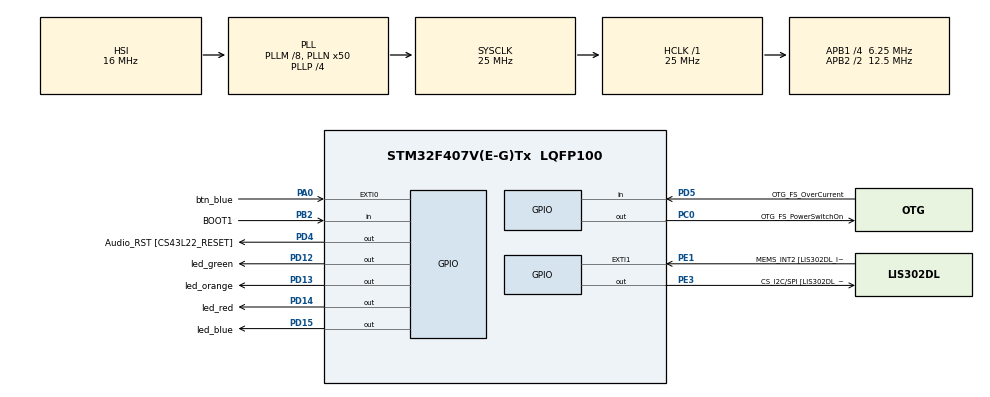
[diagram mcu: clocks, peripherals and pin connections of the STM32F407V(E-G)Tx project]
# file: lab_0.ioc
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Mcu.Family=STM32F4
Mcu.Name=STM32F407V(E-G)Tx
Mcu.Package=LQFP100
NVIC.PriorityGroup=NVIC_PRIORITYGROUP_4
NVIC.TIM7_IRQn=true\:0\:0\:false\:false\:true\:false\:true\:true
NVIC.TimeBase=TIM7_IRQn
NVIC.TimeBaseIP=TIM7
PA0-WKUP.GPIO_Label=btn_blue
PA0-WKUP.Signal=GPXTI0
PA10.GPIO_Label=OTG_FS_ID
PA10.GPIO_Mode=GPIO_MODE_AF_PP
PA10.GPIO_PuPd=GPIO_NOPULL
PA10.GPIO_Speed=GPIO_SPEED_FREQ_LOW
PA10.Signal=USB_OTG_FS_ID
PA11.GPIO_Label=OTG_FS_DM
PA11.GPIO_Mode=GPIO_MODE_AF_PP
PA11.GPIO_PuPd=GPIO_NOPULL
PA11.GPIO_Speed=GPIO_SPEED_FREQ_LOW
PA11.Signal=USB_OTG_FS_DM
PA12.GPIO_Label=OTG_FS_DP
PA12.GPIO_Mode=GPIO_MODE_AF_PP
PA12.GPIO_PuPd=GPIO_NOPULL
PA12.GPIO_Speed=GPIO_SPEED_FREQ_LOW
PA12.Signal=USB_OTG_FS_DP
PA13.GPIO_Label=SWDIO
PA13.Mode=Serial_Wire
PA13.Signal=SYS_JTMS-SWDIO
PA14.GPIO_Label=SWCLK
PA14.Mode=Serial_Wire
PA14.Signal=SYS_JTCK-SWCLK
PA4.GPIO_Label=I2S3_WS [CS43L22_LRCK]
PA4.GPIO_Mode=GPIO_MODE_AF_PP
PA4.GPIO_PuPd=GPIO_NOPULL
PA4.GPIO_Speed=GPIO_SPEED_FREQ_LOW
PA4.Signal=I2S3_WS
PA5.GPIO_Label=SPI1_SCK [LIS302DL_SCL/SPC]
PA5.GPIO_Mode=GPIO_MODE_AF_PP
PA5.GPIO_PuPd=GPIO_NOPULL
PA5.GPIO_Speed=GPIO_SPEED_FREQ_LOW
PA5.Signal=SPI1_SCK
PA6.GPIO_Label=SPI1_MISO [LIS302DL_SDO]
PA6.GPIO_Mode=GPIO_MODE_AF_PP
PA6.GPIO_PuPd=GPIO_NOPULL
PA6.GPIO_Speed=GPIO_SPEED_FREQ_LOW
PA6.Signal=SPI1_MISO
PA7.GPIO_Label=SPI1_MOSI [LIS302DL_SDA/SDI/SDO]
PA7.GPIO_Mode=GPIO_MODE_AF_PP
PA7.GPIO_PuPd=GPIO_NOPULL
PA7.GPIO_Speed=GPIO_SPEED_FREQ_LOW
PA7.Signal=SPI1_MOSI
PA9.GPIO_Label=VBUS_FS
PA9.GPIO_Mode=GPIO_MODE_INPUT
PA9.GPIO_PuPd=GPIO_NOPULL
PA9.Signal=USB_OTG_FS_VBUS
PB10.GPIO_Label=CLK_IN [MP45DT02_CLK]
PB10.GPIO_Mode=GPIO_MODE_AF_PP
PB10.GPIO_PuPd=GPIO_NOPULL
PB10.GPIO_Speed=GPIO_SPEED_FREQ_LOW
PB10.Signal=I2S2_CK
PB2.GPIO_Label=BOOT1
PB2.GPIO_Mode=GPIO_MODE_INPUT
PB2.GPIO_PuPd=GPIO_NOPULL
PB2.Signal=GPIO_Input
PB3.GPIO_Label=SWO
PB3.Signal=SYS_JTDO-SWO
PB6.GPIO_Label=Audio_SCL [CS43L22_SCL]
PB6.GPIO_Mode=GPIO_MODE_AF_OD
PB6.GPIO_PuPd=GPIO_NOPULL
PB6.GPIO_Speed=GPIO_SPEED_FREQ_LOW
PB6.Signal=I2C1_SCL
PB9.GPIO_Label=Audio_SDA [CS43L22_SDA]
PB9.GPIO_Mode=GPIO_MODE_AF_OD
PB9.GPIO_PuPd=GPIO_NOPULL
PB9.GPIO_Speed=GPIO_SPEED_FREQ_LOW
PB9.Signal=I2C1_SDA
PC0.GPIO_Label=OTG_FS_PowerSwitchOn
PC0.GPIO_PuPd=GPIO_NOPULL
PC0.GPIO_Speed=GPIO_SPEED_FREQ_LOW
PC0.PinState=GPIO_PIN_SET
PC0.Signal=GPIO_Output
PC10.GPIO_Label=I2S3_SCK [CS43L22_SCLK]
PC10.GPIO_Mode=GPIO_MODE_AF_PP
PC10.GPIO_PuPd=GPIO_NOPULL
PC10.GPIO_Speed=GPIO_SPEED_FREQ_LOW
PC10.Signal=I2S3_CK
PC12.GPIO_Label=I2S3_SD [CS43L22_SDIN]
PC12.GPIO_Mode=GPIO_MODE_AF_PP
PC12.GPIO_PuPd=GPIO_NOPULL
PC12.GPIO_Speed=GPIO_SPEED_FREQ_LOW
PC12.Signal=I2S3_SD
PC14-OSC32_IN.GPIO_Label=PC14-OSC32_IN
PC14-OSC32_IN.Signal=RCC_OSC32_IN
PC15-OSC32_OUT.GPIO_Label=PC15-OSC32_OUT
PC15-OSC32_OUT.Signal=RCC_OSC32_OUT
PC3.GPIO_Label=PDM_OUT [MP45DT02_DOUT]
PC3.GPIO_Mode=GPIO_MODE_AF_PP
PC3.GPIO_PuPd=GPIO_NOPULL
PC3.GPIO_Speed=GPIO_SPEED_FREQ_LOW
PC3.Signal=I2S2_SD
PC7.GPIO_Label=I2S3_MCK [CS43L22_MCLK]
PC7.GPIO_Mode=GPIO_MODE_AF_PP
PC7.GPIO_PuPd=GPIO_NOPULL
PC7.GPIO_Speed=GPIO_SPEED_FREQ_LOW
PC7.Signal=I2S3_MCK
PD12.GPIO_Label=led_green
PD12.Signal=GPIO_Output
PD13.GPIO_Label=led_orange
PD13.GPIO_PuPd=GPIO_NOPULL
PD13.GPIO_Speed=GPIO_SPEED_FREQ_LOW
PD13.Signal=GPIO_Output
PD14.GPIO_Label=led_red
PD14.GPIO_PuPd=GPIO_NOPULL
PD14.GPIO_Speed=GPIO_SPEED_FREQ_LOW
PD14.Signal=GPIO_Output
PD15.GPIO_Label=led_blue
PD15.GPIO_PuPd=GPIO_NOPULL
PD15.GPIO_Speed=GPIO_SPEED_FREQ_LOW
PD15.Signal=GPIO_Output
PD4.GPIO_Label=Audio_RST [CS43L22_RESET]
PD4.GPIO_PuPd=GPIO_NOPULL
PD4.GPIO_Speed=GPIO_SPEED_FREQ_LOW
PD4.Signal=GPIO_Output
PD5.GPIO_Label=OTG_FS_OverCurrent
PD5.GPIO_Mode=GPIO_MODE_INPUT
PD5.GPIO_PuPd=GPIO_NOPULL
PD5.Signal=GPIO_Input
PE1.GPIO_Label=MEMS_INT2 [LIS302DL_INT2]
PE1.GPIO_ModeDefaultEXTI=GPIO_MODE_EVT_RISING
PE1.GPIO_PuPd=GPIO_NOPULL
PE1.Signal=GPXTI1
PE3.GPIO_Label=CS_I2C/SPI [LIS302DL_CS_I2C/SPI]
PE3.GPIO_PuPd=GPIO_NOPULL
PE3.GPIO_Speed=GPIO_SPEED_FREQ_LOW
PE3.Signal=GPIO_Output
PH0-OSC_IN.GPIO_Label=PH0-OSC_IN
PH0-OSC_IN.Signal=RCC_OSC_IN
PH1-OSC_OUT.GPIO_Label=PH1-OSC_OUT
PH1-OSC_OUT.Signal=RCC_OSC_OUT
ProjectManager.HeapSize=0x200
ProjectManager.StackSize=0x400
ProjectManager.TargetToolchain=STM32CubeIDE
RCC.48MHZClocksFreq_Value=14285714.285714285
RCC.AHBFreq_Value=25000000
RCC.APB1CLKDivider=RCC_HCLK_DIV4
RCC.APB1Freq_Value=6250000
RCC.APB1TimFreq_Value=12500000
RCC.APB2CLKDivider=RCC_HCLK_DIV2
RCC.APB2Freq_Value=12500000
RCC.APB2TimFreq_Value=25000000
RCC.CortexFreq_Value=25000000
RCC.HCLKFreq_Value=25000000
RCC.HSE_VALUE=8000000
RCC.HSI_VALUE=16000000
RCC.LSE_VALUE=32768
RCC.PLLM=8
RCC.PLLN=50
RCC.PLLP=RCC_PLLP_DIV4
RCC.PLLQ=7
RCC.SYSCLKFreq_VALUE=25000000
RCC.SYSCLKSource=RCC_SYSCLKSOURCE_PLLCLK
RCC.VCOOutputFreq_Value=100000000
VP_SYS_VS_tim7.Mode=TIM7
board=STM32F407G-DISC1

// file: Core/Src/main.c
/* USER CODE BEGIN Header */
/**
  ******************************************************************************
  * @file           : main.c
  * @brief          : Main program body
  ******************************************************************************
  * @attention
  *
  * Copyright (c) 2024 STMicroelectronics.
  * All rights reserved.
  *
  * This software is licensed under terms that can be found in the LICENSE file
  * in the root directory of this software component.
  * If no LICENSE file comes with this software, it is provided AS-IS.
  *
  ******************************************************************************
  */
/* USER CODE END Header */
#include "main.h"
#include "stdio.h"
#include "stdlib.h"
#include "FreeRTOS.h"
#include "task.h"
#include "queue.h"

void SystemClock_Config(void);
static void MX_GPIO_Init(void);

/* USER CODE BEGIN 0 */
BaseType_t xReturned;
TaskHandle_t xHandle=NULL;
void LED_Task( void ){
	HAL_GPIO_WritePin(GPIOD, GPIO_PIN_12 | GPIO_PIN_13 | GPIO_PIN_14 | GPIO_PIN_15, GPIO_PIN_RESET);
	for(;;){

		HAL_GPIO_WritePin(GPIOD, GPIO_PIN_12, GPIO_PIN_SET );
		vTaskDelay(500);
		HAL_GPIO_WritePin(GPIOD, GPIO_PIN_12, GPIO_PIN_RESET );
		vTaskDelay(500);
	}
}
void LEDTask_App(void *pvParameters)
{
	for(;;)
	{
		if(HAL_GPIO_ReadPin(btn_blue_GPIO_Port, GPIO_PIN_0)){
			HAL_GPIO_WritePin(led_green_GPIO_Port, GPIO_PIN_12, GPIO_PIN_SET);
			HAL_GPIO_WritePin(led_red_GPIO_Port, GPIO_PIN_14, GPIO_PIN_RESET);
			vTaskDelay(1000);
			HAL_GPIO_WritePin(led_green_GPIO_Port, GPIO_PIN_12, GPIO_PIN_RESET);
			HAL_GPIO_WritePin(led_red_GPIO_Port, GPIO_PIN_14, GPIO_PIN_SET);
			vTaskDelay(1000);
		} else{
			HAL_GPIO_WritePin(led_orange_GPIO_Port, GPIO_PIN_13, GPIO_PIN_SET);
			HAL_GPIO_WritePin(led_red_GPIO_Port, GPIO_PIN_12, GPIO_PIN_RESET);
			HAL_GPIO_WritePin(led_green_GPIO_Port, GPIO_PIN_14, GPIO_PIN_RESET);
			vTaskDelay(1000);
			HAL_GPIO_WritePin(led_orange_GPIO_Port, GPIO_PIN_13, GPIO_PIN_RESET);
			vTaskDelay(1000);
		}
	}
}
/* USER CODE END 0 */

int main(void)
{

  /* MCU Configuration--------------------------------------------------------*/

  /* Reset of all peripherals, Initializes the Flash interface and the Systick. */
  HAL_Init();

  /* Configure the system clock */
  SystemClock_Config();

  /* Initialize all configured peripherals */
  MX_GPIO_Init();
  /* USER CODE BEGIN 2 */
  xTaskCreate(
		  LEDTask_App,
		  "LEDTask_App",
		  128,
		  NULL,
		  1,
		  &xHandle);

  vTaskStartScheduler();
  /* USER CODE END 2 */

  /* Infinite loop */
  while (1)
  {

  }
}

void SystemClock_Config(void)
{
  RCC_OscInitTypeDef RCC_OscInitStruct = {0};
  RCC_ClkInitTypeDef RCC_ClkInitStruct = {0};

  /** Configure the main internal regulator output voltage
  */
  __HAL_RCC_PWR_CLK_ENABLE();
  __HAL_PWR_VOLTAGESCALING_CONFIG(PWR_REGULATOR_VOLTAGE_SCALE1);

  /** Initializes the RCC Oscillators according to the specified parameters
  * in the RCC_OscInitTypeDef structure.
  */
  RCC_OscInitStruct.OscillatorType = RCC_OSCILLATORTYPE_HSI;
  RCC_OscInitStruct.HSIState = RCC_HSI_ON;
  RCC_OscInitStruct.HSICalibrationValue = RCC_HSICALIBRATION_DEFAULT;
  RCC_OscInitStruct.PLL.PLLState = RCC_PLL_ON;
  RCC_OscInitStruct.PLL.PLLSource = RCC_PLLSOURCE_HSI;
  RCC_OscInitStruct.PLL.PLLM = 8;
  RCC_OscInitStruct.PLL.PLLN = 50;
  RCC_OscInitStruct.PLL.PLLP = RCC_PLLP_DIV4;
  RCC_OscInitStruct.PLL.PLLQ = 7;
  if (HAL_RCC_OscConfig(&RCC_OscInitStruct) != HAL_OK)
  {
    Error_Handler();
  }

  /** Initializes the CPU, AHB and APB buses clocks
  */
  RCC_ClkInitStruct.ClockType = RCC_CLOCKTYPE_HCLK|RCC_CLOCKTYPE_SYSCLK
                              |RCC_CLOCKTYPE_PCLK1|RCC_CLOCKTYPE_PCLK2;
  RCC_ClkInitStruct.SYSCLKSource = RCC_SYSCLKSOURCE_PLLCLK;
  RCC_ClkInitStruct.AHBCLKDivider = RCC_SYSCLK_DIV1;
  RCC_ClkInitStruct.APB1CLKDivider = RCC_HCLK_DIV4;
  RCC_ClkInitStruct.APB2CLKDivider = RCC_HCLK_DIV2;

  if (HAL_RCC_ClockConfig(&RCC_ClkInitStruct, FLASH_LATENCY_0) != HAL_OK)
  {
    Error_Handler();
  }
}

static void MX_GPIO_Init(void)
{
  GPIO_InitTypeDef GPIO_InitStruct = {0};

  /* GPIO Ports Clock Enable */
  __HAL_RCC_GPIOE_CLK_ENABLE();
  __HAL_RCC_GPIOC_CLK_ENABLE();
  __HAL_RCC_GPIOH_CLK_ENABLE();
  __HAL_RCC_GPIOA_CLK_ENABLE();
  __HAL_RCC_GPIOB_CLK_ENABLE();
  __HAL_RCC_GPIOD_CLK_ENABLE();

  /*Configure GPIO pin Output Level */
  HAL_GPIO_WritePin(CS_I2C_SPI_GPIO_Port, CS_I2C_SPI_Pin, GPIO_PIN_RESET);

  /*Configure GPIO pin Output Level */
  HAL_GPIO_WritePin(OTG_FS_PowerSwitchOn_GPIO_Port, OTG_FS_PowerSwitchOn_Pin, GPIO_PIN_SET);

  /*Configure GPIO pin Output Level */
  HAL_GPIO_WritePin(GPIOD, led_green_Pin|led_orange_Pin|led_red_Pin|led_blue_Pin
                          |Audio_RST_Pin, GPIO_PIN_RESET);

  /*Configure GPIO pin : CS_I2C_SPI_Pin */
  GPIO_InitStruct.Pin = CS_I2C_SPI_Pin;
  GPIO_InitStruct.Mode = GPIO_MODE_OUTPUT_PP;
  GPIO_InitStruct.Pull = GPIO_NOPULL;
  GPIO_InitStruct.Speed = GPIO_SPEED_FREQ_LOW;
  HAL_GPIO_Init(CS_I2C_SPI_GPIO_Port, &GPIO_InitStruct);

  /*Configure GPIO pin : OTG_FS_PowerSwitchOn_Pin */
  GPIO_InitStruct.Pin = OTG_FS_PowerSwitchOn_Pin;
  GPIO_InitStruct.Mode = GPIO_MODE_OUTPUT_PP;
  GPIO_InitStruct.Pull = GPIO_NOPULL;
  GPIO_InitStruct.Speed = GPIO_SPEED_FREQ_LOW;
  HAL_GPIO_Init(OTG_FS_PowerSwitchOn_GPIO_Port, &GPIO_InitStruct);

  /*Configure GPIO pin : PDM_OUT_Pin */
  GPIO_InitStruct.Pin = PDM_OUT_Pin;
  GPIO_InitStruct.Mode = GPIO_MODE_AF_PP;
  GPIO_InitStruct.Pull = GPIO_NOPULL;
  GPIO_InitStruct.Speed = GPIO_SPEED_FREQ_LOW;
  GPIO_InitStruct.Alternate = GPIO_AF5_SPI2;
  HAL_GPIO_Init(PDM_OUT_GPIO_Port, &GPIO_InitStruct);

  /*Configure GPIO pin : btn_blue_Pin */
  GPIO_InitStruct.Pin = btn_blue_Pin;
  GPIO_InitStruct.Mode = GPIO_MODE_IT_RISING;
  GPIO_InitStruct.Pull = GPIO_NOPULL;
  HAL_GPIO_Init(btn_blue_GPIO_Port, &GPIO_InitStruct);

  /*Configure GPIO pin : I2S3_WS_Pin */
  GPIO_InitStruct.Pin = I2S3_WS_Pin;
  GPIO_InitStruct.Mode = GPIO_MODE_AF_PP;
  GPIO_InitStruct.Pull = GPIO_NOPULL;
  GPIO_InitStruct.Speed = GPIO_SPEED_FREQ_LOW;
  GPIO_InitStruct.Alternate = GPIO_AF6_SPI3;
  HAL_GPIO_Init(I2S3_WS_GPIO_Port, &GPIO_InitStruct);

  /*Configure GPIO pins : SPI1_SCK_Pin SPI1_MISO_Pin SPI1_MOSI_Pin */
  GPIO_InitStruct.Pin = SPI1_SCK_Pin|SPI1_MISO_Pin|SPI1_MOSI_Pin;
  GPIO_InitStruct.Mode = GPIO_MODE_AF_PP;
  GPIO_InitStruct.Pull = GPIO_NOPULL;
  GPIO_InitStruct.Speed = GPIO_SPEED_FREQ_LOW;
  GPIO_InitStruct.Alternate = GPIO_AF5_SPI1;
  HAL_GPIO_Init(GPIOA, &GPIO_InitStruct);

  /*Configure GPIO pin : BOOT1_Pin */
  GPIO_InitStruct.Pin = BOOT1_Pin;
  GPIO_InitStruct.Mode = GPIO_MODE_INPUT;
  GPIO_InitStruct.Pull = GPIO_NOPULL;
  HAL_GPIO_Init(BOOT1_GPIO_Port, &GPIO_InitStruct);

  /*Configure GPIO pin : CLK_IN_Pin */
  GPIO_InitStruct.Pin = CLK_IN_Pin;
  GPIO_InitStruct.Mode = GPIO_MODE_AF_PP;
  GPIO_InitStruct.Pull = GPIO_NOPULL;
  GPIO_InitStruct.Speed = GPIO_SPEED_FREQ_LOW;
  GPIO_InitStruct.Alternate = GPIO_AF5_SPI2;
  HAL_GPIO_Init(CLK_IN_GPIO_Port, &GPIO_InitStruct);

  /*Configure GPIO pins : led_green_Pin led_orange_Pin led_red_Pin led_blue_Pin
                           Audio_RST_Pin */
  GPIO_InitStruct.Pin = led_green_Pin|led_orange_Pin|led_red_Pin|led_blue_Pin
                          |Audio_RST_Pin;
  GPIO_InitStruct.Mode = GPIO_MODE_OUTPUT_PP;
  GPIO_InitStruct.Pull = GPIO_NOPULL;
  GPIO_InitStruct.Speed = GPIO_SPEED_FREQ_LOW;
  HAL_GPIO_Init(GPIOD, &GPIO_InitStruct);

  /*Configure GPIO pins : I2S3_MCK_Pin I2S3_SCK_Pin I2S3_SD_Pin */
  GPIO_InitStruct.Pin = I2S3_MCK_Pin|I2S3_SCK_Pin|I2S3_SD_Pin;
  GPIO_InitStruct.Mode = GPIO_MODE_AF_PP;
  GPIO_InitStruct.Pull = GPIO_NOPULL;
  GPIO_InitStruct.Speed = GPIO_SPEED_FREQ_LOW;
  GPIO_InitStruct.Alternate = GPIO_AF6_SPI3;
  HAL_GPIO_Init(GPIOC, &GPIO_InitStruct);

  /*Configure GPIO pin : VBUS_FS_Pin */
  GPIO_InitStruct.Pin = VBUS_FS_Pin;
  GPIO_InitStruct.Mode = GPIO_MODE_INPUT;
  GPIO_InitStruct.Pull = GPIO_NOPULL;
  HAL_GPIO_Init(VBUS_FS_GPIO_Port, &GPIO_InitStruct);

  /*Configure GPIO pins : OTG_FS_ID_Pin OTG_FS_DM_Pin OTG_FS_DP_Pin */
  GPIO_InitStruct.Pin = OTG_FS_ID_Pin|OTG_FS_DM_Pin|OTG_FS_DP_Pin;
  GPIO_InitStruct.Mode = GPIO_MODE_AF_PP;
  GPIO_InitStruct.Pull = GPIO_NOPULL;
  GPIO_InitStruct.Speed = GPIO_SPEED_FREQ_LOW;
  GPIO_InitStruct.Alternate = GPIO_AF10_OTG_FS;
  HAL_GPIO_Init(GPIOA, &GPIO_InitStruct);

  /*Configure GPIO pin : OTG_FS_OverCurrent_Pin */
  GPIO_InitStruct.Pin = OTG_FS_OverCurrent_Pin;
  GPIO_InitStruct.Mode = GPIO_MODE_INPUT;
  GPIO_InitStruct.Pull = GPIO_NOPULL;
  HAL_GPIO_Init(OTG_FS_OverCurrent_GPIO_Port, &GPIO_InitStruct);

  /*Configure GPIO pins : Audio_SCL_Pin Audio_SDA_Pin */
  GPIO_InitStruct.Pin = Audio_SCL_Pin|Audio_SDA_Pin;
  GPIO_InitStruct.Mode = GPIO_MODE_AF_OD;
  GPIO_InitStruct.Pull = GPIO_NOPULL;
  GPIO_InitStruct.Speed = GPIO_SPEED_FREQ_LOW;
  GPIO_InitStruct.Alternate = GPIO_AF4_I2C1;
  HAL_GPIO_Init(GPIOB, &GPIO_InitStruct);

  /*Configure GPIO pin : MEMS_INT2_Pin */
  GPIO_InitStruct.Pin = MEMS_INT2_Pin;
  GPIO_InitStruct.Mode = GPIO_MODE_EVT_RISING;
  GPIO_InitStruct.Pull = GPIO_NOPULL;
  HAL_GPIO_Init(MEMS_INT2_GPIO_Port, &GPIO_InitStruct);

}

void HAL_TIM_PeriodElapsedCallback(TIM_HandleTypeDef *htim)
{
  if (htim->Instance == TIM7) {
    HAL_IncTick();
  }
}

void Error_Handler(void)
{
  __disable_irq();
  while (1)
  {
  }
}
